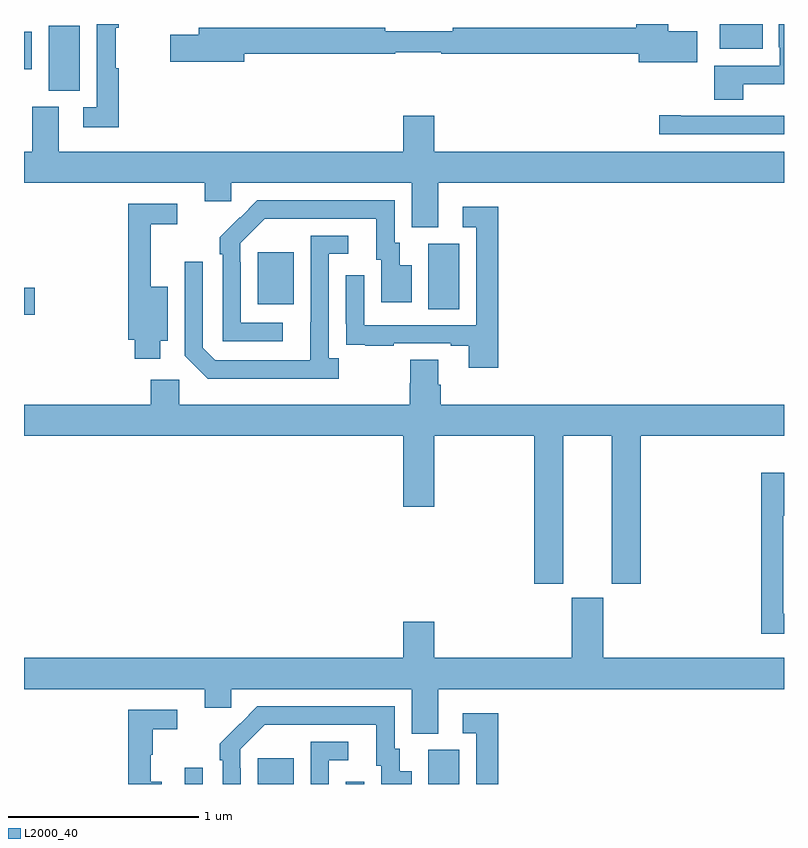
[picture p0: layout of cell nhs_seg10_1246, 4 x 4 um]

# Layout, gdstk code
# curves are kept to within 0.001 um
import gdstk
lib = gdstk.Library(unit=1e-6, precision=1e-09)
def R(c, l, rs):  # rectangles x0, y0, x1, y1
    for r in rs: c.add(gdstk.rectangle(r[:2], r[2:], *l))
def P(c, l, *ps):  # polygons
    for p in ps: c.add(gdstk.Polygon(p, *l))
L2000_40 = (2000, 40)

nhs_seg10_1246 = lib.new_cell('nhs_seg10_1246')
R(nhs_seg10_1246, L2000_40, [(175.845,1282.5,175.941,1282.585), (176.231,1282.5,176.419,1282.636), (176.694,1282.5,176.79,1282.513), (177.128,1282.5,177.292,1282.68), (175,1284.97,175.057,1285.112), (177.128,1285,177.292,1285.344), (176.231,1285.025,176.419,1285.3), (175.13,1286.149,175.294,1286.492), (175,1286.261,175.042,1286.458), (178.661,1286.369,178.888,1286.5)])
P(nhs_seg10_1246, L2000_40, [(175.499,1286.268),(175.484,1286.268),(175.484,1286.48),(175.499,1286.48),(175.499,1286.5),(175.383,1286.5),(175.383,1286.061),(175.311,1286.061),(175.311,1285.956),(175.499,1285.956)],
  [(178.543,1286.463),(178.39,1286.463),(178.39,1286.5),(178.223,1286.5),(178.223,1286.48),(177.256,1286.48),(177.256,1286.461),(176.9,1286.461),(176.9,1286.48),(175.919,1286.48),(175.919,1286.444),(175.77,1286.444),(175.77,1286.302),(176.158,1286.302),(176.158,1286.344),(176.954,1286.344),(176.954,1286.352),(177.197,1286.352),(177.197,1286.344),(178.235,1286.344),(178.235,1286.3),(178.543,1286.3)],
  [(178.786,1286.184),(179,1286.184),(179,1286.5),(178.973,1286.5),(178.973,1286.377),(178.977,1286.377),(178.977,1286.28),(178.634,1286.28),(178.634,1286.101),(178.786,1286.101)],
  [(177.181,1285.664),(179,1285.664),(179,1285.828),(177.16,1285.828),(177.16,1286.017),(176.996,1286.017),(176.996,1285.828),(175.183,1285.828),(175.183,1286.064),(175.043,1286.064),(175.043,1285.828),(175,1285.828),(175,1285.664),(175.952,1285.664),(175.952,1285.566),(176.091,1285.566),(176.091,1285.664),(177.041,1285.664),(177.041,1285.429),(177.181,1285.429)],
  [(179,1286.016),(178.456,1286.016),(178.456,1286.021),(178.344,1286.021),(178.344,1285.92),(179,1285.92)],
  [(176.362,1284.927),(176.142,1284.927),(176.142,1285.247),(176.139,1285.247),(176.139,1285.347),(176.268,1285.476),(176.855,1285.476),(176.855,1285.26),(176.879,1285.26),(176.879,1285.035),(177.04,1285.035),(177.04,1285.231),(176.977,1285.231),(176.977,1285.35),(176.952,1285.35),(176.952,1285.572),(176.228,1285.572),(176.031,1285.377),(176.031,1285.289),(176.046,1285.289),(176.046,1284.831),(176.362,1284.831)],
  [(175.717,1284.833),(175.756,1284.833),(175.756,1285.117),(175.667,1285.117),(175.667,1285.446),(175.807,1285.446),(175.807,1285.554),(175.549,1285.554),(175.549,1284.837),(175.583,1284.837),(175.583,1284.737),(175.717,1284.737)],
  [(177.497,1285.537),(177.309,1285.537),(177.309,1285.431),(177.381,1285.431),(177.381,1284.915),(176.79,1284.915),(176.79,1285.177),(176.694,1285.177),(176.694,1284.922),(176.695,1284.922),(176.695,1284.813),(176.797,1284.813),(176.797,1284.807),(176.945,1284.807),(176.945,1284.819),(177.245,1284.819),(177.245,1284.807),(177.341,1284.807),(177.341,1284.69),(177.497,1284.69)],
  [(176.656,1284.742),(176.604,1284.742),(176.604,1285.29),(176.707,1285.29),(176.707,1285.386),(176.508,1285.386),(176.507,1284.729),(176.007,1284.729),(175.941,1284.795),(175.941,1285.249),(175.845,1285.249),(175.845,1284.753),(175.966,1284.632),(176.656,1284.632)],
  [(177.838,1284.332),(178.094,1284.332),(178.094,1283.553),(178.247,1283.553),(178.247,1284.332),(179,1284.332),(179,1284.496),(177.194,1284.496),(177.194,1284.602),(177.181,1284.602),(177.181,1284.734),(177.034,1284.734),(177.034,1284.609),(177.029,1284.609),(177.029,1284.496),(175.818,1284.496),(175.818,1284.628),(175.667,1284.628),(175.667,1284.496),(175,1284.496),(175,1284.332),(176.996,1284.332),(176.996,1283.958),(177.16,1283.958),(177.16,1284.332),(177.686,1284.332),(177.686,1283.553),(177.838,1283.553)],
  [(179,1283.397),(178.995,1283.397),(178.995,1283.913),(179,1283.913),(179,1284.139),(178.879,1284.139),(178.879,1283.292),(179,1283.292)],
  [(177.181,1283),(179,1283),(179,1283.164),(178.048,1283.164),(178.048,1283.481),(177.884,1283.481),(177.884,1283.164),(177.16,1283.164),(177.16,1283.353),(176.996,1283.353),(176.996,1283.164),(175,1283.164),(175,1283),(175.952,1283),(175.952,1282.902),(176.091,1282.902),(176.091,1283),(177.041,1283),(177.041,1282.765),(177.181,1282.765)],
  [(176.142,1282.583),(176.139,1282.583),(176.139,1282.683),(176.268,1282.812),(176.855,1282.812),(176.855,1282.596),(176.879,1282.596),(176.879,1282.5),(177.04,1282.5),(177.04,1282.567),(176.977,1282.567),(176.977,1282.686),(176.952,1282.686),(176.952,1282.908),(176.228,1282.908),(176.031,1282.713),(176.031,1282.625),(176.046,1282.625),(176.046,1282.5),(176.142,1282.5)],
  [(175.726,1282.513),(175.667,1282.513),(175.667,1282.653),(175.678,1282.653),(175.678,1282.789),(175.807,1282.789),(175.807,1282.89),(175.549,1282.89),(175.549,1282.5),(175.726,1282.5)],
  [(177.497,1282.873),(177.309,1282.873),(177.309,1282.767),(177.381,1282.767),(177.381,1282.5),(177.497,1282.5)],
  [(176.604,1282.626),(176.707,1282.626),(176.707,1282.722),(176.508,1282.722),(176.508,1282.5),(176.604,1282.5)])

lib.write_gds('nhs_seg10_1246.gds')
